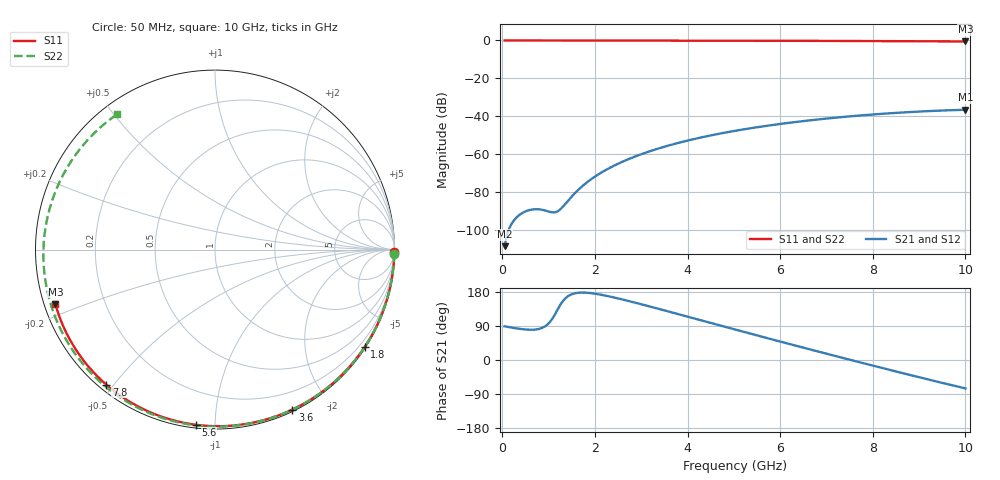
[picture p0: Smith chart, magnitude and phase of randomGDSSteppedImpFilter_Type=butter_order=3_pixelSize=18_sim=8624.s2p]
! freq	dB(S11)	phase(S11)	dB(S12)	phase(S12)
!  dB(S21)	phase(S21)	dB(S22)	phase(S22)
!S-par simulation data
#  GHz  S  DB  R 50
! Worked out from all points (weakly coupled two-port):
!   200 points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, 50 MHz to 10 GHz, reference 50 ohm
!   highest |S21| = -36.65 dB at 10 GHz (marker M1); lowest = -108.8 dB at 50 MHz (marker M2)
!   lowest |S11| = -0.5 dB at 10 GHz (marker M3), VSWR 32.25, Z = 1.59 - j8.28 ohm
!   |S11| at or under -10 dB: nowhere
!   |S22| runs from -0.6 to 0.0 dB; largest |S21 - S12| = 0
!   S11 on the Smith chart (normalised r, x): 50 MHz: open; 1.8 GHz: 0.03, -3.37; 3.6 GHz: 0.02, -1.59; 5.6 GHz: 0.02, -0.90; 7.8 GHz: 0.02, -0.48; 10 GHz: 0.03, -0.17
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0.05  -0.00 -0.9  -108.81 88.9  -108.81 88.9  -0.00 -1.3
0.8  -0.02 -14.8  -89.35 82.3  -89.35 82.3  -0.03 -20.8
1.6  -0.04 -29.4  -79.97 176.8  -79.97 176.8  -0.05 -41.1
1.75  -0.04 -32.1  -76.61 178.0  -76.61 178.0  -0.06 -44.8
1.8  -0.04 -33.0  -75.60 177.7  -75.60 177.7  -0.06 -46.1
2.1  -0.05 -38.4  -70.45 173.0  -70.45 173.0  -0.07 -53.5
2.5  -0.06 -45.4  -65.20 162.5  -65.20 162.5  -0.08 -63.1
2.9  -0.07 -52.3  -61.08 150.3  -61.08 150.3  -0.09 -72.6
3.4  -0.08 -60.9  -56.94 134.2  -56.94 134.2  -0.11 -84.1
3.6  -0.09 -64.2  -55.51 127.7  -55.51 127.7  -0.12 -88.7
4.3  -0.11 -75.7  -51.27 104.5  -51.27 104.5  -0.15 -104.2
5.05  -0.14 -87.7  -47.69 79.7  -47.69 79.7  -0.18 -120.4
5.6  -0.16 -96.2  -45.54 61.7  -45.54 61.7  -0.21 -132.0
6.15  -0.19 -104.6  -43.69 43.8  -43.69 43.8  -0.25 -143.6
6.7  -0.22 -112.8  -42.09 26.2  -42.09 26.2  -0.29 -155.3
7.25  -0.26 -120.8  -40.72 8.7  -40.72 8.7  -0.34 -167.1
7.8  -0.30 -128.9  -39.54 -8.6  -39.54 -8.6  -0.39 -179.3
8.35  -0.35 -136.9  -38.54 -25.6  -38.54 -25.6  -0.44 168.1
8.8  -0.40 -143.4  -37.87 -39.4  -37.87 -39.4  -0.49 157.3
9.2  -0.44 -149.3  -37.37 -51.5  -37.37 -51.5  -0.54 147.3
9.6  -0.49 -155.2  -36.96 -63.3  -36.96 -63.3  -0.58 136.9
10  -0.54 -161.2  -36.65 -74.9  -36.65 -74.9  -0.63 125.9
